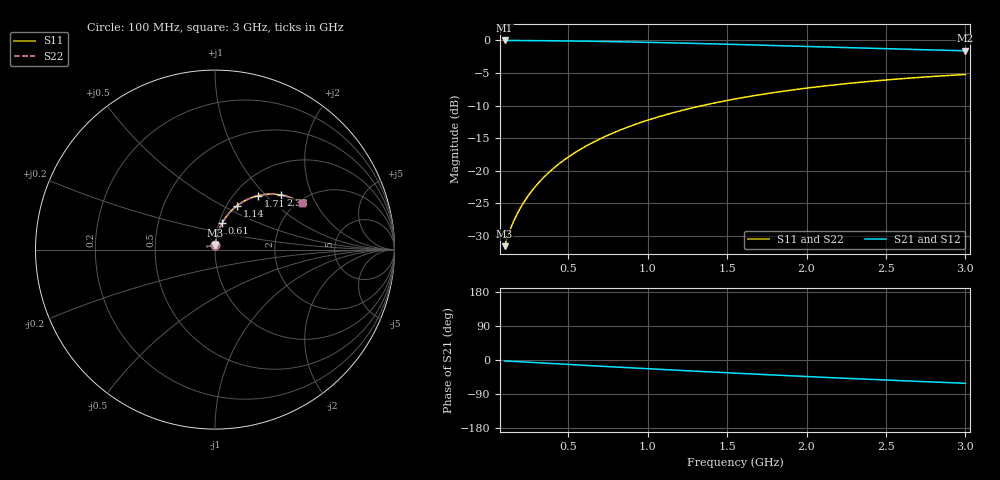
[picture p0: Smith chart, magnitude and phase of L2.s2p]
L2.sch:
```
<Qucs Schematic 24.2.0>
<Properties>
  <View=273,208,638,410,4.26301,0,0>
  <Grid=10,10,1>
  <DataSet=L2.dat>
  <DataDisplay=L2.dpl>
  <OpenDisplay=0>
  <Script=L1.m>
  <RunScript=0>
  <showFrame=0>
  <FrameText0=Title>
  <FrameText1=Drawn By:>
  <FrameText2=Date:>
  <FrameText3=Revision:>
</Properties>
<Symbol>
  <Line -20 -20 10 0 #000080 2 1>
  <.PortSym -20 -20 1 0>
  <Rectangle 20 -90 10 80 #000000 1 1 #ffaa00 1 1>
  <Rectangle 50 -90 10 140 #000000 1 1 #ffaa00 1 1>
  <Rectangle -10 -30 40 20 #000000 1 1 #ffaa00 1 1>
  <Rectangle 20 -90 40 10 #000000 1 1 #ffaa00 1 1>
  <Rectangle 50 40 40 10 #000000 1 1 #ffaa00 1 1>
  <Rectangle 80 -90 10 140 #000000 1 1 #ffaa00 1 1>
  <Rectangle 80 -90 40 10 #000000 1 1 #ffaa00 1 1>
  <Rectangle 110 -90 10 140 #000000 1 1 #ffaa00 1 1>
  <Rectangle 110 40 40 10 #000000 1 1 #ffaa00 1 1>
  <Rectangle 140 -30 10 80 #000000 1 1 #ffaa00 1 1>
  <.ID 50 64 L5n5>
  <Rectangle 140 -30 40 20 #000000 1 1 #ffaa00 1 1>
  <Line 180 -20 10 0 #000080 2 1>
  <.PortSym 190 -20 2 180>
</Symbol>
<Components>
  <GND * 1 430 340 0 0 0 0>
  <Port P2 1 540 310 4 -48 0 2 "2" 1 "analog" 0 "v" 0 "" 0>
  <Port P1 1 340 310 -23 12 0 0 "1" 1 "analog" 0 "v" 0 "" 0>
  <SPfile X1 1 430 310 -26 -56 0 0 "L2.s2p" 1 "rectangular" 0 "linear" 0 "open" 0 "2" 0>
</Components>
<Wires>
  <460 310 540 310 "" 0 0 0 "">
  <340 310 400 310 "" 0 0 0 "">
</Wires>
<Diagrams>
</Diagrams>
<Paintings>
</Paintings>
```
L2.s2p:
! Sonnet Data File
! From: sonnet Version : 18.53-Lite
! From Emgraph Data:
! Data File Written: 04/06/2024 10:45:29
!< HDATE 04/06/2024 10:45:02
!< MDATE 04/06/2024 10:45:02
# GHZ S MA R 50.00000
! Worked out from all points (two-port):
!   291 points, 100 MHz to 3 GHz, reference 50 ohm
!   highest |S21| = -0.01 dB at 100 MHz (marker M1); lowest = -1.6 dB at 3 GHz (marker M2)
!   |S21| within 3 dB of the highest: start of sweep to end of sweep
!   lowest |S11| = -31.6 dB at 100 MHz (marker M3), VSWR 1.05, Z = 50.1 + j2.64 ohm
!   |S11| at or under -10 dB: start of sweep to 1.345 GHz
!   |S22| runs from -31.6 to -5.2 dB; largest |S21 - S12| = 2e-13
!   S11 on the Smith chart (normalised r, x): 100 MHz: 1.00, +0.05; 610 MHz: 1.04, +0.32; 1.14 GHz: 1.12, +0.59; 1.71 GHz: 1.27, +0.90; 2.33 GHz: 1.56, +1.23; 3 GHz: 2.09, +1.55
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0.1  0.02637 85.4  0.9986 -2.4  0.9986 -2.4  0.02637 85.4
0.18  0.04685 84.1  0.9975 -4.3  0.9975 -4.3  0.04685 84.1
0.28  0.07226 82.1  0.9957 -6.6  0.9957 -6.6  0.07226 82.1
0.42  0.1074 79.0  0.9921 -9.9  0.9921 -9.9  0.1074 79.0
0.61  0.1539 74.8  0.9855 -14.3  0.9855 -14.3  0.1539 74.8
0.85  0.2104 69.5  0.9745 -19.7  0.9745 -19.7  0.2104 69.5
1.14  0.2742 63.3  0.9582 -26.1  0.9582 -26.1  0.2742 63.3
1.55  0.3551 54.7  0.9309 -34.7  0.9309 -34.7  0.3551 54.7
1.71  0.3835 51.5  0.9195 -38.0  0.9195 -38.0  0.3835 51.5
2.33  0.4762 39.7  0.8749 -49.8  0.8749 -49.8  0.4762 39.8
3  0.5477 28.2  0.8319 -61.5  0.8319 -61.5  0.5477 28.2
